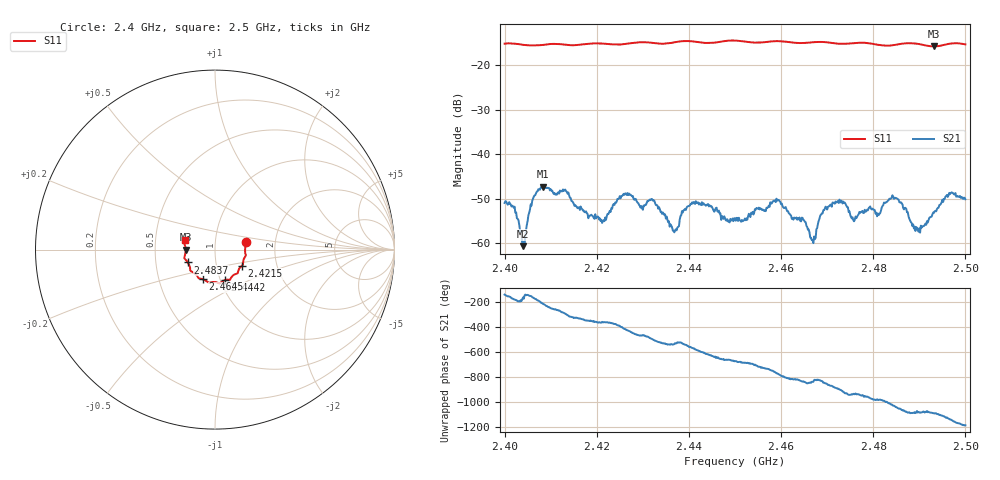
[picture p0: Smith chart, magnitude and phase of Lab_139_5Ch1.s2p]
# Hz S RI R 50
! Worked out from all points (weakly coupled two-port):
!   601 points, 2.4 GHz to 2.5 GHz, reference 50 ohm
!   highest |S21| = -47.36 dB at 2.4083 GHz (marker M1); lowest = -60.7 dB at 2.404 GHz (marker M2)
!   lowest |S11| = -15.7 dB at 2.4932 GHz (marker M3), VSWR 1.39, Z = 35.9 - j0.0561 ohm
!   |S11| at or under -10 dB: start of sweep to end of sweep
!   S12 and S22 are empty: the file has one direction only
!   S11 on the Smith chart (normalised r, x): 2.4 GHz: 1.41, +0.12; 2.4215 GHz: 1.33, -0.25; 2.4442 GHz: 1.05, -0.37; 2.4645 GHz: 0.83, -0.29; 2.4837 GHz: 0.73, -0.11; 2.5 GHz: 0.71, +0.07
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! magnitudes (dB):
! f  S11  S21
! 2.4 GHz  -15.1  -51.0
! 2.404 GHz  -15.4  -60.7
! 2.4062 GHz  -15.5  -50.0
! 2.4083 GHz  -15.4  -47.4
! 2.4167 GHz  -15.3  -52.2
! 2.4215 GHz  -15.1  -54.9
! 2.4262 GHz  -15.2  -48.9
! 2.4333 GHz  -15.1  -52.3
! 2.437 GHz  -14.8  -57.2
! 2.4402 GHz  -14.5  -51.6
! 2.4442 GHz  -15.0  -51.2
! 2.45 GHz  -14.4  -54.4
! 2.459 GHz  -14.5  -50.0
! 2.4645 GHz  -15.0  -54.3
! 2.4667 GHz  -14.8  -59.4
! 2.4717 GHz  -15.0  -51.2
! 2.4758 GHz  -15.0  -55.1
! 2.4833 GHz  -15.6  -50.3
! 2.4837 GHz  -15.5  -50.1
! 2.4897 GHz  -15.1  -56.8
! 2.4932 GHz  -15.7  -53.2
! 2.5 GHz  -15.3  -50.2
